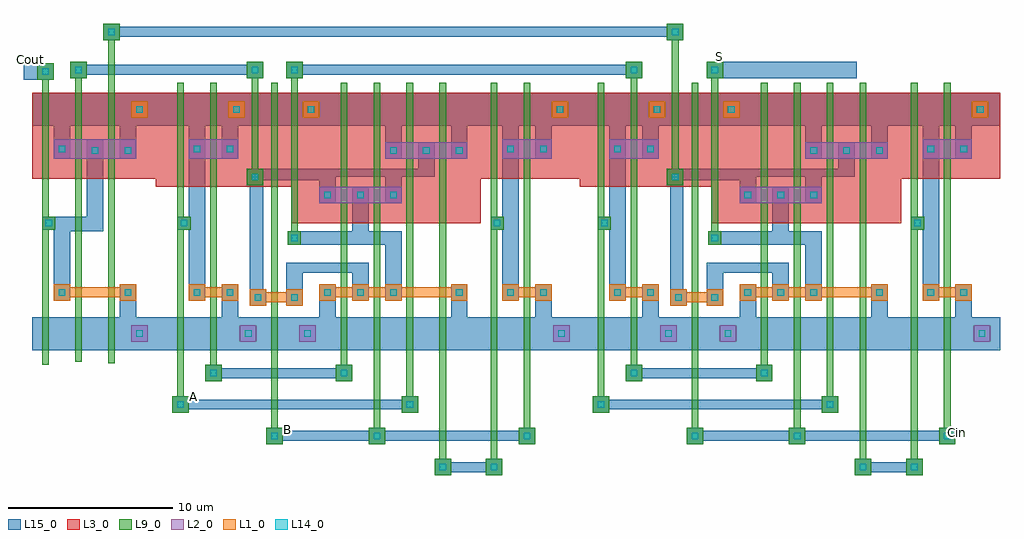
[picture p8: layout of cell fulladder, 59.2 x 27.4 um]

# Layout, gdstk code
import gdstk
lib = gdstk.Library(unit=1e-6, precision=1e-09)
def R(c, l, rs):  # rectangles x0, y0, x1, y1
    for r in rs: c.add(gdstk.rectangle(r[:2], r[2:], *l))
def A(c, l, x, y, w, h, nx, ny, dx, dy):  # array of equal rectangles
    R(c, l, [(x+i*dx, y+j*dy, x+i*dx+w, y+j*dy+h) for i in range(nx) for j in range(ny)])
def P(c, l, *ps):  # polygons
    for p in ps: c.add(gdstk.Polygon(p, *l))
L1_0 = (1, 0)
L2_0 = (2, 0)
L3_0 = (3, 0)
L9_0 = (9, 0)
L14_0 = (14, 0)
L15_0 = (15, 0)

fulladder = lib.new_cell('fulladder')
R(fulladder, L1_0, [(-14.8,11,-13.8,12), (-8.9,11,-7.9,12), (-4.4,11,-3.4,12), (10.7,11,11.7,12), (16.6,11,17.6,12), (21.1,11,22.1,12), (36.2,11,37.2,12)])
P(fulladder, L1_0, [(10.7,0.9),(9.7,0.9),(9.7,0.7),(8.7,0.7),(8.7,0.9),(7.7,0.9),(7.7,-0.1),(8.7,-0.1),(8.7,0.1),(9.7,0.1),(9.7,-0.1),(10.7,-0.1)],
  [(-0.4,0.1),(0.6,0.1),(0.6,-0.1),(1.6,-0.1),(1.6,0.1),(4.6,0.1),(4.6,-0.1),(5.6,-0.1),(5.6,0.9),(4.6,0.9),(4.6,0.7),(1.6,0.7),(1.6,0.9),(0.6,0.9),(0.6,0.7),(-0.4,0.7),(-0.4,0.9),(-1.4,0.9),(-1.4,0.7),(-2.4,0.7),(-2.4,0.9),(-3.4,0.9),(-3.4,-0.1),(-2.4,-0.1),(-2.4,0.1),(-1.4,0.1),(-1.4,-0.1),(-0.4,-0.1)],
  [(-8.3,0.9),(-9.3,0.9),(-9.3,0.7),(-10.3,0.7),(-10.3,0.9),(-11.3,0.9),(-11.3,-0.1),(-10.3,-0.1),(-10.3,0.1),(-9.3,0.1),(-9.3,-0.1),(-8.3,-0.1)],
  [(-7.6,0.6),(-7.6,-0.4),(-6.6,-0.4),(-6.6,-0.2),(-5.4,-0.2),(-5.4,-0.4),(-4.4,-0.4),(-4.4,0.6),(-5.4,0.6),(-5.4,0.4),(-6.6,0.4),(-6.6,0.6)],
  [(36.2,0.9),(35.2,0.9),(35.2,0.7),(34.2,0.7),(34.2,0.9),(33.2,0.9),(33.2,-0.1),(34.2,-0.1),(34.2,0.1),(35.2,0.1),(35.2,-0.1),(36.2,-0.1)],
  [(25.1,0.1),(26.1,0.1),(26.1,-0.1),(27.1,-0.1),(27.1,0.1),(30.1,0.1),(30.1,-0.1),(31.1,-0.1),(31.1,0.9),(30.1,0.9),(30.1,0.7),(27.1,0.7),(27.1,0.9),(26.1,0.9),(26.1,0.7),(25.1,0.7),(25.1,0.9),(24.1,0.9),(24.1,0.7),(23.1,0.7),(23.1,0.9),(22.1,0.9),(22.1,-0.1),(23.1,-0.1),(23.1,0.1),(24.1,0.1),(24.1,-0.1),(25.1,-0.1)],
  [(17.2,0.9),(16.2,0.9),(16.2,0.7),(15.2,0.7),(15.2,0.9),(14.2,0.9),(14.2,-0.1),(15.2,-0.1),(15.2,0.1),(16.2,0.1),(16.2,-0.1),(17.2,-0.1)],
  [(17.9,0.6),(17.9,-0.4),(18.9,-0.4),(18.9,-0.2),(20.1,-0.2),(20.1,-0.4),(21.1,-0.4),(21.1,0.6),(20.1,0.6),(20.1,0.4),(18.9,0.4),(18.9,0.6)],
  [(-14.5,0.9),(-15.5,0.9),(-15.5,0.7),(-18.5,0.7),(-18.5,0.9),(-19.5,0.9),(-19.5,-0.1),(-18.5,-0.1),(-18.5,0.1),(-15.5,0.1),(-15.5,-0.1),(-14.5,-0.1)])
R(fulladder, L2_0, [(-14.8,-2.6,-13.8,-1.6), (-8.2,-2.6,-7.2,-1.6), (-4.6,-2.6,-3.6,-1.6), (10.8,-2.6,11.8,-1.6), (17.3,-2.6,18.3,-1.6), (20.9,-2.6,21.9,-1.6), (36.3,-2.6,37.3,-1.6), (-3.4,5.8,1.6,6.8), (22.1,5.8,27.1,6.8), (-19.5,8.5,-14.5,9.7), (-11.3,8.5,-8.3,9.7), (0.6,8.5,5.6,9.5), (7.7,8.5,10.7,9.7), (14.2,8.5,17.2,9.7), (26.1,8.5,31.1,9.5), (33.2,8.5,36.2,9.7)])
R(fulladder, L3_0, [(-5.1,4.6,6.4,12.5), (20.4,4.6,31.9,12.5), (-13.3,6.8,-5.1,12.5), (12.4,6.8,20.4,12.5), (-20.8,7.3,-13.3,12.5), (6.4,7.3,12.4,12.5), (31.9,7.3,37.9,12.5)])
P(fulladder, L9_0, [(-1.4,-5),(-1.4,-4),(-1.7,-4),(-1.7,13.1),(-2.1,13.1),(-2.1,-4),(-2.4,-4),(-2.4,-5)],
  [(-0.4,-8.8),(0.6,-8.8),(0.6,-7.8),(0.3,-7.8),(0.3,13.1),(-0.1,13.1),(-0.1,-7.8),(-0.4,-7.8)],
  [(4.6,-10.7),(4.6,-9.7),(4.3,-9.7),(4.3,13.1),(3.9,13.1),(3.9,-9.7),(3.6,-9.7),(3.6,-10.7)],
  [(6.7,-10.7),(7.7,-10.7),(7.7,-9.7),(7.4,-9.7),(7.4,4.2),(7.8,4.2),(7.8,5),(7.4,5),(7.4,13.1),(7,13.1),(7,-9.7),(6.7,-9.7)],
  [(8.7,-8.8),(9.7,-8.8),(9.7,-7.8),(9.4,-7.8),(9.4,13.1),(9,13.1),(9,-7.8),(8.7,-7.8)],
  [(2.6,-6.9),(2.6,-5.9),(2.3,-5.9),(2.3,13.1),(1.9,13.1),(1.9,-5.9),(1.6,-5.9),(1.6,-6.9)],
  [(-10.3,-5),(-9.3,-5),(-9.3,-4),(-9.6,-4),(-9.6,13.1),(-10,13.1),(-10,-4),(-10.3,-4)],
  [(-12.3,-6.9),(-11.3,-6.9),(-11.3,-5.9),(-11.6,-5.9),(-11.6,4.2),(-11.2,4.2),(-11.2,5),(-11.6,5),(-11.6,13.1),(-12,13.1),(-12,-5.9),(-12.3,-5.9)],
  [(-6.6,-8.8),(-5.6,-8.8),(-5.6,-7.8),(-5.9,-7.8),(-5.9,13.1),(-6.3,13.1),(-6.3,-7.8),(-6.6,-7.8)],
  [(-5.1,13.4),(-5.1,4.1),(-5.3,4.1),(-5.3,3.3),(-4.5,3.3),(-4.5,4.1),(-4.7,4.1),(-4.7,13.4),(-4.4,13.4),(-4.4,14.4),(-5.4,14.4),(-5.4,13.4)],
  [(-7.5,13.4),(-7.5,7.9),(-7.8,7.9),(-7.8,6.9),(-6.8,6.9),(-6.8,7.9),(-7.1,7.9),(-7.1,13.4),(-6.8,13.4),(-6.8,14.4),(-7.8,14.4),(-7.8,13.4)],
  [(24.1,-5),(24.1,-4),(23.8,-4),(23.8,13.1),(23.4,13.1),(23.4,-4),(23.1,-4),(23.1,-5)],
  [(25.1,-8.8),(26.1,-8.8),(26.1,-7.8),(25.8,-7.8),(25.8,13.1),(25.4,13.1),(25.4,-7.8),(25.1,-7.8)],
  [(30.1,-10.7),(30.1,-9.7),(29.8,-9.7),(29.8,13.1),(29.4,13.1),(29.4,-9.7),(29.1,-9.7),(29.1,-10.7)],
  [(32.2,-10.7),(33.2,-10.7),(33.2,-9.7),(32.9,-9.7),(32.9,4.2),(33.3,4.2),(33.3,5),(32.9,5),(32.9,13.1),(32.5,13.1),(32.5,-9.7),(32.2,-9.7)],
  [(34.2,-8.8),(35.2,-8.8),(35.2,-7.8),(34.9,-7.8),(34.9,13.1),(34.5,13.1),(34.5,-7.8),(34.2,-7.8)],
  [(28.1,-6.9),(28.1,-5.9),(27.8,-5.9),(27.8,13.1),(27.4,13.1),(27.4,-5.9),(27.1,-5.9),(27.1,-6.9)],
  [(13.2,-6.9),(14.2,-6.9),(14.2,-5.9),(13.9,-5.9),(13.9,4.2),(14.3,4.2),(14.3,5),(13.9,5),(13.9,13.1),(13.5,13.1),(13.5,-5.9),(13.2,-5.9)],
  [(18.9,-8.8),(19.9,-8.8),(19.9,-7.8),(19.6,-7.8),(19.6,13.1),(19.2,13.1),(19.2,-7.8),(18.9,-7.8)],
  [(20.4,13.4),(20.4,4.1),(20.2,4.1),(20.2,3.3),(21,3.3),(21,4.1),(20.8,4.1),(20.8,13.4),(21.1,13.4),(21.1,14.4),(20.1,14.4),(20.1,13.4)],
  [(15.5,13.4),(15.5,-4),(15.2,-4),(15.2,-5),(16.2,-5),(16.2,-4),(15.9,-4),(15.9,13.4),(16.2,13.4),(16.2,14.4),(15.2,14.4),(15.2,13.4)],
  [(18,15.7),(18,7.9),(17.7,7.9),(17.7,6.9),(18.7,6.9),(18.7,7.9),(18.4,7.9),(18.4,15.7),(18.7,15.7),(18.7,16.7),(17.7,16.7),(17.7,15.7)],
  [(-16.5,16.7),(-16.5,15.7),(-16.2,15.7),(-16.2,-3.9),(-15.8,-3.9),(-15.8,15.7),(-15.5,15.7),(-15.5,16.7)],
  [(-18.5,14.4),(-18.5,13.4),(-18.2,13.4),(-18.2,-3.8),(-17.8,-3.8),(-17.8,13.4),(-17.5,13.4),(-17.5,14.4)],
  [(-20.2,13.3),(-20.2,-4),(-19.8,-4),(-19.8,4.2),(-19.4,4.2),(-19.4,5),(-19.8,5),(-19.8,13.3),(-19.5,13.3),(-19.5,14.3),(-20.5,14.3),(-20.5,13.3)])
A(fulladder, L14_0, -3.1, 0.2, 0.4, 0.4, 3, 2, 2, 5.9)
A(fulladder, L14_0, 22.4, 0.2, 0.4, 0.4, 3, 2, 2, 5.9)
A(fulladder, L14_0, 0.9, 8.8, 0.4, 0.4, 3, 1, 2, 0)
A(fulladder, L14_0, 26.4, 8.8, 0.4, 0.4, 3, 1, 2, 0)
R(fulladder, L14_0, [(3.9,-10.4,4.3,-10), (7,-10.4,7.4,-10), (29.4,-10.4,29.8,-10), (32.5,-10.4,32.9,-10), (-6.3,-8.5,-5.9,-8.1), (-0.1,-8.5,0.3,-8.1), (9,-8.5,9.4,-8.1), (19.2,-8.5,19.6,-8.1), (25.4,-8.5,25.8,-8.1), (34.5,-8.5,34.9,-8.1), (-12,-6.6,-11.6,-6.2), (1.9,-6.6,2.3,-6.2), (13.5,-6.6,13.9,-6.2), (27.4,-6.6,27.8,-6.2), (-10,-4.7,-9.6,-4.3), (-2.1,-4.7,-1.7,-4.3), (15.5,-4.7,15.9,-4.3), (23.4,-4.7,23.8,-4.3), (-14.5,-2.3,-14.1,-1.9), (-7.9,-2.3,-7.5,-1.9), (-4.3,-2.3,-3.9,-1.9), (11.1,-2.3,11.5,-1.9), (17.6,-2.3,18,-1.9), (21.2,-2.3,21.6,-1.9), (36.6,-2.3,37,-1.9), (-7.3,-0.1,-6.9,0.3), (-5.1,-0.1,-4.7,0.3), (18.2,-0.1,18.6,0.3), (20.4,-0.1,20.8,0.3), (-19.2,0.2,-18.8,0.6), (-15.2,0.2,-14.8,0.6), (-11,0.2,-10.6,0.6), (-9,0.2,-8.6,0.6), (4.9,0.2,5.3,0.6), (8,0.2,8.4,0.6), (10,0.2,10.4,0.6), (14.5,0.2,14.9,0.6), (16.5,0.2,16.9,0.6), (30.4,0.2,30.8,0.6), (33.5,0.2,33.9,0.6), (35.5,0.2,35.9,0.6), (-5.1,3.5,-4.7,3.9), (20.4,3.5,20.8,3.9), (-20,4.4,-19.6,4.8), (-11.8,4.4,-11.4,4.8), (7.2,4.4,7.6,4.8), (13.7,4.4,14.1,4.8), (32.7,4.4,33.1,4.8), (-7.5,7.2,-7.1,7.6), (18,7.2,18.4,7.6), (-17.2,8.8,-16.8,9.2), (-15.2,8.8,-14.8,9.2), (-19.2,8.9,-18.8,9.3), (-11,8.9,-10.6,9.3), (-9,8.9,-8.6,9.3), (8,8.9,8.4,9.3), (10,8.9,10.4,9.3), (14.5,8.9,14.9,9.3), (16.5,8.9,16.9,9.3), (33.5,8.9,33.9,9.3), (35.5,8.9,35.9,9.3), (-14.5,11.3,-14.1,11.7), (-8.6,11.3,-8.2,11.7), (-4.1,11.3,-3.7,11.7), (11,11.3,11.4,11.7), (16.9,11.3,17.3,11.7), (21.4,11.3,21.8,11.7), (36.5,11.3,36.9,11.7), (-20.2,13.6,-19.8,14), (-18.2,13.7,-17.8,14.1), (-7.5,13.7,-7.1,14.1), (-5.1,13.7,-4.7,14.1), (15.5,13.7,15.9,14.1), (20.4,13.7,20.8,14.1), (-16.2,16,-15.8,16.4), (18,16,18.4,16.4)])
R(fulladder, L15_0, [(3.6,-10.7,4.6,-9.7), (6.7,-10.7,7.7,-9.7), (29.1,-10.7,30.1,-9.7), (32.2,-10.7,33.2,-9.7), (4.6,-10.5,6.7,-9.9), (30.1,-10.5,32.2,-9.9), (-6.6,-8.8,-5.6,-7.8), (-0.4,-8.8,0.6,-7.8), (8.7,-8.8,9.7,-7.8), (18.9,-8.8,19.9,-7.8), (25.1,-8.8,26.1,-7.8), (34.2,-8.8,35.2,-7.8), (-5.6,-8.6,-0.4,-8), (0.6,-8.6,8.7,-8), (19.9,-8.6,25.1,-8), (26.1,-8.6,34.2,-8), (-12.3,-6.9,-11.3,-5.9), (1.6,-6.9,2.6,-5.9), (13.2,-6.9,14.2,-5.9), (27.1,-6.9,28.1,-5.9), (-11.3,-6.7,1.6,-6.1), (14.2,-6.7,27.1,-6.1), (-10.3,-5,-9.3,-4), (-2.4,-5,-1.4,-4), (15.2,-5,16.2,-4), (23.1,-5,24.1,-4), (-9.3,-4.8,-2.4,-4.2), (16.2,-4.8,23.1,-4.2), (-21.3,13.3,-20.5,14.3), (-20.5,13.3,-19.5,14.3), (-18.5,13.4,-17.5,14.4), (-7.8,13.4,-6.8,14.4), (-5.4,13.4,-4.4,14.4), (15.2,13.4,16.2,14.4), (20.1,13.4,29.2,14.4), (-17.5,13.6,-7.8,14.2), (-4.4,13.6,15.2,14.2), (-16.5,15.7,-15.5,16.7), (17.7,15.7,18.7,16.7), (-15.5,15.9,17.7,16.5)])
P(fulladder, L15_0, [(-2.4,-1.1),(-2.4,0.9),(-3.4,0.9),(-3.4,-1.1),(-5.1,-1.1),(-5.1,-3.1),(6.4,-3.1),(6.4,-1.1),(5.6,-1.1),(5.6,0.9),(4.6,0.9),(4.6,-1.1)],
  [(5.6,10.5),(6.4,10.5),(6.4,12.5),(-5.1,12.5),(-5.1,10.5),(0.6,10.5),(0.6,8.5),(1.6,8.5),(1.6,10.5),(4.6,10.5),(4.6,8.5),(5.6,8.5)],
  [(7,5),(7,4.2),(7.7,4.2),(7.7,-0.1),(8.7,-0.1),(8.7,9.7),(7.7,9.7),(7.7,5)],
  [(9.7,-1.1),(6.4,-1.1),(6.4,-3.1),(12.4,-3.1),(12.4,-1.1),(10.7,-1.1),(10.7,0.9),(9.7,0.9)],
  [(7.7,10.5),(7.7,8.5),(8.7,8.5),(8.7,10.5),(9.7,10.5),(9.7,8.5),(10.7,8.5),(10.7,10.5),(12.4,10.5),(12.4,12.5),(6.4,12.5),(6.4,10.5)],
  [(-12,5),(-12,4.2),(-11.3,4.2),(-11.3,-0.1),(-10.3,-0.1),(-10.3,9.7),(-11.3,9.7),(-11.3,5)],
  [(-6.8,0.6),(-6.8,7.2),(-3.4,7.2),(-3.4,5.8),(-2.4,5.8),(-2.4,7.4),(0.6,7.4),(0.6,5.8),(1.6,5.8),(1.6,7.4),(3.6,7.4),(3.6,9.5),(2.6,9.5),(2.6,7.9),(-7.8,7.9),(-7.8,6.9),(-7.6,6.9),(-7.6,-0.4),(-6.6,-0.4),(-6.6,0.6)],
  [(1.6,-0.1),(1.6,4.1),(-0.4,4.1),(-0.4,6.8),(-1.4,6.8),(-1.4,4.1),(-5.3,4.1),(-5.3,3.3),(0.6,3.3),(0.6,-0.1)],
  [(-4.4,1.6),(-1.4,1.6),(-1.4,-0.1),(-0.4,-0.1),(-0.4,2.2),(-5.4,2.2),(-5.4,-0.4),(-4.4,-0.4)],
  [(23.1,-1.1),(23.1,0.9),(22.1,0.9),(22.1,-1.1),(20.4,-1.1),(20.4,-3.1),(31.9,-3.1),(31.9,-1.1),(31.1,-1.1),(31.1,0.9),(30.1,0.9),(30.1,-1.1)],
  [(31.1,10.5),(31.9,10.5),(31.9,12.5),(20.4,12.5),(20.4,10.5),(26.1,10.5),(26.1,8.5),(27.1,8.5),(27.1,10.5),(30.1,10.5),(30.1,8.5),(31.1,8.5)],
  [(32.5,5),(32.5,4.2),(33.2,4.2),(33.2,-0.1),(34.2,-0.1),(34.2,9.7),(33.2,9.7),(33.2,5)],
  [(35.2,-1.1),(31.9,-1.1),(31.9,-3.1),(37.9,-3.1),(37.9,-1.1),(36.2,-1.1),(36.2,0.9),(35.2,0.9)],
  [(33.2,10.5),(33.2,8.5),(34.2,8.5),(34.2,10.5),(35.2,10.5),(35.2,8.5),(36.2,8.5),(36.2,10.5),(37.9,10.5),(37.9,12.5),(31.9,12.5),(31.9,10.5)],
  [(13.5,5),(13.5,4.2),(14.2,4.2),(14.2,-0.1),(15.2,-0.1),(15.2,9.7),(14.2,9.7),(14.2,5)],
  [(14.2,10.5),(14.2,8.5),(15.2,8.5),(15.2,10.5),(16.2,10.5),(16.2,8.5),(17.2,8.5),(17.2,10.5),(20.4,10.5),(20.4,12.5),(12.4,12.5),(12.4,10.5)],
  [(18.7,0.6),(18.7,7.2),(22.1,7.2),(22.1,5.8),(23.1,5.8),(23.1,7.4),(26.1,7.4),(26.1,5.8),(27.1,5.8),(27.1,7.4),(29.1,7.4),(29.1,9.5),(28.1,9.5),(28.1,7.9),(17.7,7.9),(17.7,6.9),(17.9,6.9),(17.9,-0.4),(18.9,-0.4),(18.9,0.6)],
  [(16.2,-1.1),(12.4,-1.1),(12.4,-3.1),(20.4,-3.1),(20.4,-1.1),(17.2,-1.1),(17.2,0.9),(16.2,0.9)],
  [(27.1,-0.1),(27.1,4.1),(25.1,4.1),(25.1,6.8),(24.1,6.8),(24.1,4.1),(20.2,4.1),(20.2,3.3),(26.1,3.3),(26.1,-0.1)],
  [(21.1,1.6),(24.1,1.6),(24.1,-0.1),(25.1,-0.1),(25.1,2.2),(20.1,2.2),(20.1,-0.4),(21.1,-0.4)],
  [(-15.5,-1.1),(-20.8,-1.1),(-20.8,-3.1),(-13.3,-3.1),(-13.3,-1.1),(-14.5,-1.1),(-14.5,0.9),(-15.5,0.9)],
  [(-19.5,10.5),(-19.5,8.5),(-18.5,8.5),(-18.5,10.5),(-15.5,10.5),(-15.5,8.5),(-14.5,8.5),(-14.5,10.5),(-13.3,10.5),(-13.3,12.5),(-20.8,12.5),(-20.8,10.5)],
  [(-20.2,5),(-20.2,4.2),(-19.5,4.2),(-19.5,-0.1),(-18.5,-0.1),(-18.5,4.1),(-16.5,4.1),(-16.5,9.7),(-17.5,9.7),(-17.5,5)],
  [(-9.3,-1.1),(-13.3,-1.1),(-13.3,-3.1),(-5.1,-3.1),(-5.1,-1.1),(-8.3,-1.1),(-8.3,0.9),(-9.3,0.9)],
  [(-11.3,10.5),(-11.3,8.5),(-10.3,8.5),(-10.3,10.5),(-9.3,10.5),(-9.3,8.5),(-8.3,8.5),(-8.3,10.5),(-5.1,10.5),(-5.1,12.5),(-13.3,12.5),(-13.3,10.5)])
fulladder.add(gdstk.Label('S', (20.9,14.7), layer=1, texttype=0))
fulladder.add(gdstk.Label('Cin', (35.3,-8.1), layer=1, texttype=0))
fulladder.add(gdstk.Label('A', (-11,-5.9), layer=1, texttype=0))
fulladder.add(gdstk.Label('B', (-5.3,-7.9), layer=1, texttype=0))
fulladder.add(gdstk.Label('Cout', (-20.9,14.5), layer=1, texttype=0))

lib.write_gds('fulladder.gds')
